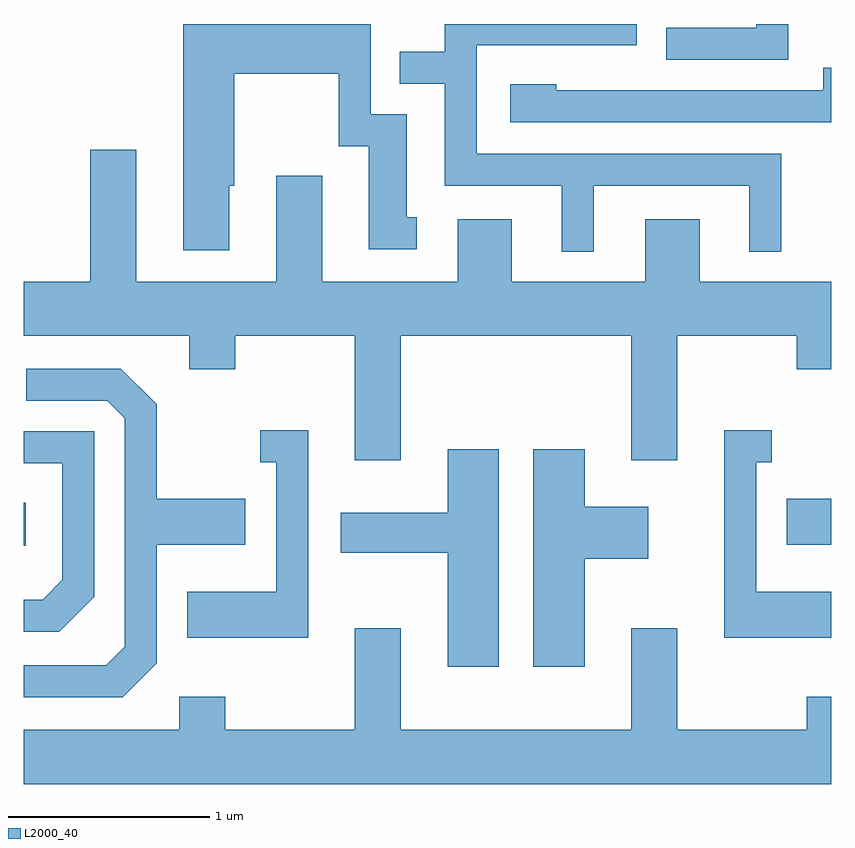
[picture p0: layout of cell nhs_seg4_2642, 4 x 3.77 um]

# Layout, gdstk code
import gdstk
lib = gdstk.Library(unit=1e-6, precision=1e-09)
def R(c, l, rs):  # rectangles x0, y0, x1, y1
    for r in rs: c.add(gdstk.rectangle(r[:2], r[2:], *l))
def P(c, l, *ps):  # polygons
    for p in ps: c.add(gdstk.Polygon(p, *l))
L2000_40 = (2000, 40)

nhs_seg4_2642 = lib.new_cell('nhs_seg4_2642')
R(nhs_seg4_2642, L2000_40, [(261.611,1371.396,261.619,1371.609), (265.391,1371.401,265.611,1371.629)])
P(nhs_seg4_2642, L2000_40, [(265.399,1373.982),(265.241,1373.982),(265.241,1373.964),(264.793,1373.964),(264.793,1373.806),(265.399,1373.806)],
  [(262.629,1373.181),(262.654,1373.181),(262.654,1373.736),(263.171,1373.736),(263.171,1373.376),(263.321,1373.376),(263.321,1372.866),(263.558,1372.866),(263.558,1373.024),(263.509,1373.024),(263.509,1373.534),(263.329,1373.534),(263.329,1373.982),(262.401,1373.982),(262.401,1372.861),(262.629,1372.861)],
  [(264.434,1373.181),(265.206,1373.181),(265.206,1372.853),(265.364,1372.853),(265.364,1373.339),(263.854,1373.339),(263.854,1373.876),(264.649,1373.876),(264.649,1373.982),(263.696,1373.982),(263.696,1373.844),(263.473,1373.844),(263.473,1373.686),(263.696,1373.686),(263.696,1373.181),(264.276,1373.181),(264.276,1372.853),(264.434,1372.853)],
  [(265.611,1373.764),(265.571,1373.764),(265.571,1373.654),(264.249,1373.654),(264.249,1373.684),(264.021,1373.684),(264.021,1373.496),(265.611,1373.496)],
  [(263.479,1372.436),(264.621,1372.436),(264.621,1371.821),(264.849,1371.821),(264.849,1372.436),(265.441,1372.436),(265.441,1372.271),(265.611,1372.271),(265.611,1372.704),(264.959,1372.704),(264.959,1373.014),(264.691,1373.014),(264.691,1372.704),(264.029,1372.704),(264.029,1373.014),(263.761,1373.014),(263.761,1372.704),(263.089,1372.704),(263.089,1373.229),(262.861,1373.229),(262.861,1372.704),(262.169,1372.704),(262.169,1373.359),(261.941,1373.359),(261.941,1372.704),(261.611,1372.704),(261.611,1372.436),(262.431,1372.436),(262.431,1372.271),(262.659,1372.271),(262.659,1372.436),(263.251,1372.436),(263.251,1371.821),(263.479,1371.821)],
  [(262.269,1370.814),(262.269,1371.401),(262.709,1371.401),(262.709,1371.629),(262.269,1371.629),(262.269,1372.097),(262.092,1372.274),(261.623,1372.274),(261.623,1372.116),(262.024,1372.116),(262.111,1372.029),(262.111,1370.897),(262.019,1370.804),(261.611,1370.804),(261.611,1370.646),(262.102,1370.646)],
  [(265.611,1371.169),(265.239,1371.169),(265.239,1371.811),(265.318,1371.811),(265.318,1371.969),(265.081,1371.969),(265.081,1370.941),(265.611,1370.941)],
  [(263.019,1371.969),(262.783,1371.969),(262.783,1371.811),(262.861,1371.811),(262.861,1371.169),(262.421,1371.169),(262.421,1370.941),(263.019,1370.941)],
  [(261.959,1371.144),(261.959,1371.964),(261.611,1371.964),(261.611,1371.806),(261.801,1371.806),(261.801,1371.227),(261.704,1371.129),(261.611,1371.129),(261.611,1370.971),(261.787,1370.971)],
  [(264.389,1371.331),(264.704,1371.331),(264.704,1371.589),(264.389,1371.589),(264.389,1371.874),(264.136,1371.874),(264.136,1370.796),(264.389,1370.796)],
  [(263.964,1371.874),(263.711,1371.874),(263.711,1371.559),(263.181,1371.559),(263.181,1371.361),(263.711,1371.361),(263.711,1370.796),(263.964,1370.796)],
  [(265.611,1370.649),(265.491,1370.649),(265.491,1370.484),(264.849,1370.484),(264.849,1370.989),(264.621,1370.989),(264.621,1370.484),(263.479,1370.484),(263.479,1370.989),(263.251,1370.989),(263.251,1370.484),(262.609,1370.484),(262.609,1370.649),(262.381,1370.649),(262.381,1370.484),(261.611,1370.484),(261.611,1370.216),(265.611,1370.216)])

lib.write_gds('nhs_seg4_2642.gds')
